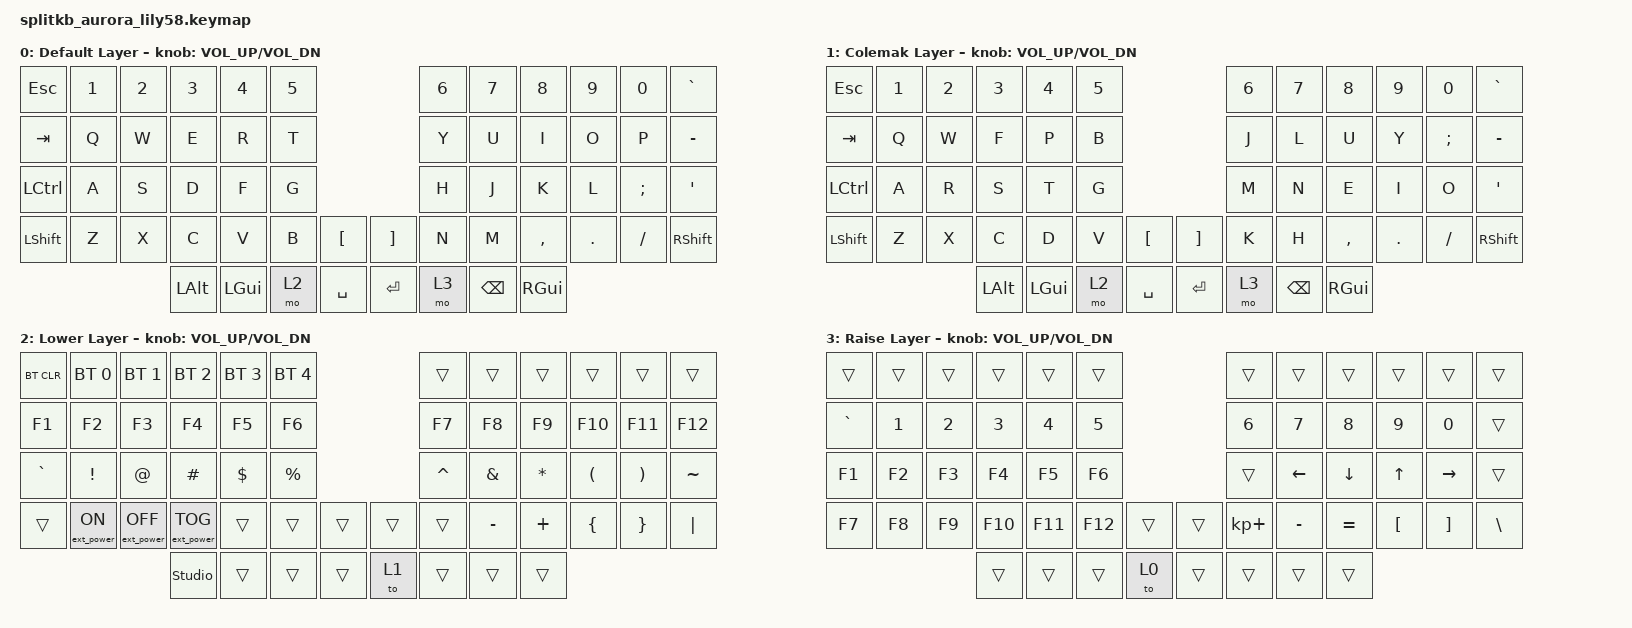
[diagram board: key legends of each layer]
/*
 * Copyright (c) 2022 The ZMK Contributors
 *
 * SPDX-License-Identifier: MIT
 */

#include <behaviors.dtsi>
#include <dt-bindings/zmk/keys.h>
#include <dt-bindings/zmk/bt.h>
#include <dt-bindings/zmk/ext_power.h>

/ {
    keymap {
        compatible = "zmk,keymap";

        default_layer {
            display-name = "Default Layer";
// ------------------------------------------------------------------------------------------------------------
// |  ESC  |  1  |  2  |  3   |  4   |  5   |                   |  6   |  7    |  8    |  9   |   0   |   `   |
// |  TAB  |  Q  |  W  |  E   |  R   |  T   |                   |  Y   |  U    |  I    |  O   |   P   |   -   |
// |  CTRL |  A  |  S  |  D   |  F   |  G   |                   |  H   |  J    |  K    |  L   |   ;   |   '   |
// | SHIFT |  Z  |  X  |  C   |  V   |  B   |   "["  |  |  "]"  |  N   |  M    |  ,    |  .   |   /   | SHIFT |
//                     | ALT  | GUI  | LOWER|  SPACE |  | ENTER | RAISE| BSPC  | GUI   |
            bindings = <
&kp ESC   &kp N1 &kp N2 &kp N3   &kp N4   &kp N5                     &kp N6 &kp N7   &kp N8    &kp N9  &kp N0   &kp GRAVE
&kp TAB   &kp Q  &kp W  &kp E    &kp R    &kp T                      &kp Y  &kp U    &kp I     &kp O   &kp P    &kp MINUS
&kp LCTRL &kp A  &kp S  &kp D    &kp F    &kp G                      &kp H  &kp J    &kp K     &kp L   &kp SEMI &kp SQT
&kp LSHFT &kp Z  &kp X  &kp C    &kp V    &kp B  &kp LBKT   &kp RBKT &kp N  &kp M    &kp COMMA &kp DOT &kp FSLH &kp RSHFT
                        &kp LALT &kp LGUI &mo 2  &kp SPACE  &kp RET  &mo 3  &kp BSPC &kp RGUI
            >;

            sensor-bindings = <&inc_dec_kp C_VOL_UP C_VOL_DN>;
        };
        colemak_layer {
            display-name = "Colemak Layer";
// ------------------------------------------------------------------------------------------------------------
// |  ESC  |  1  |  2  |  3   |  4   |  5   |                   |  6   |  7    |  8    |  9   |   0   |   `   |
// |  TAB  |  Q  |  W  |  E   |  R   |  T   |                   |  Y   |  U    |  I    |  O   |   P   |   -   |
// |  CTRL |  A  |  S  |  D   |  F   |  G   |                   |  H   |  J    |  K    |  L   |   ;   |   '   |
// | SHIFT |  Z  |  X  |  C   |  V   |  B   |   "["  |  |  "]"  |  N   |  M    |  ,    |  .   |   /   | SHIFT |
//                     | ALT  | GUI  | LOWER|  SPACE |  | ENTER | RAISE| BSPC  | GUI   |
            bindings = <
&kp ESC   &kp N1 &kp N2 &kp N3   &kp N4   &kp N5                     &kp N6 &kp N7   &kp N8    &kp N9  &kp N0   &kp GRAVE
&kp TAB   &kp Q  &kp W  &kp F    &kp P    &kp B                      &kp J  &kp L    &kp U     &kp Y   &kp SEMI &kp MINUS
&kp LCTRL &kp A  &kp R  &kp S    &kp T    &kp G                      &kp M  &kp N    &kp E     &kp I   &kp O    &kp SQT
&kp LSHFT &kp Z  &kp X  &kp C    &kp D    &kp V  &kp LBKT   &kp RBKT &kp K  &kp H    &kp COMMA &kp DOT &kp FSLH &kp RSHFT
                        &kp LALT &kp LGUI &mo 2  &kp SPACE  &kp RET  &mo 3  &kp BSPC &kp RGUI
            >;

            sensor-bindings = <&inc_dec_kp C_VOL_UP C_VOL_DN>;
        };

        lower_layer {
            display-name = "Lower Layer";
// ------------------------------------------------------------------------------------------------------------
// | BTCLR | BT1 | BT2 |  BT3 |  BT4 |  BT5 |                   |      |       |       |      |       |       |
// |  F1   |  F2 |  F3 |  F4  |  F5  |  F6  |                   |  F7  |  F8   |  F9   |  F10 |  F11  |  F12  |
// |   `   |  !  |  @  |  #   |  $   |  %   |                   |  ^   |  &    |  *    |  (   |   )   |   ~   |
// |       |     |     |      |      |      |        |  |       |      |  _    |  +    |  {   |   }   |  "|"  |
//                     |      |      |      |        |  |       |      |       |       |
            bindings = <
&bt BT_CLR &bt BT_SEL 0     &bt BT_SEL 1      &bt BT_SEL 2      &bt BT_SEL 3 &bt BT_SEL 4                 &trans    &trans    &trans          &trans    &trans    &trans
&kp F1     &kp F2           &kp F3            &kp F4            &kp F5       &kp F6                       &kp F7    &kp F8    &kp F9          &kp F10   &kp F11   &kp F12
&kp GRAVE  &kp EXCL         &kp AT            &kp HASH          &kp DOLLAR   &kp PRCNT                    &kp CARET &kp AMPS  &kp STAR         &kp LPAR  &kp RPAR  &kp TILDE
&trans     &ext_power EP_ON &ext_power EP_OFF &ext_power EP_TOG &trans       &trans    &trans   &trans    &trans    &kp MINUS &kp PLUS        &kp LBRC  &kp RBRC  &kp PIPE
                                              &studio_unlock    &trans       &trans    &trans   &to 1     &trans    &trans    &trans
            >;

            sensor-bindings = <&inc_dec_kp C_VOL_UP C_VOL_DN>;
        };

        raise_layer {
            display-name = "Raise Layer";
// ------------------------------------------------------------------------------------------------------------
// |       |     |     |      |      |      |                   |      |       |       |      |       |       |
// |   `   |  1  |  2  |  3   |  4   |  5   |                   |  6   |   7   |   8   |  9   |   0   |       |
// |   F1  |  F2 |  F3 |  F4  |  F5  |  F6  |                   |      |   <-  |   v   |  ^   |  ->   |       |
// |   F7  |  F8 |  F9 |  F10 |  F11 |  F12 |        |  |       |  +   |   -   |   =   |  [   |   ]   |   \   |
//                     |      |      |      |        |  |       |      |       |       |
            bindings = <
&trans    &trans &trans &trans  &trans  &trans                       &trans      &trans    &trans    &trans   &trans    &trans
&kp GRAVE &kp N1 &kp N2 &kp N3  &kp N4  &kp N5                       &kp N6      &kp N7    &kp N8    &kp N9   &kp N0    &trans
&kp F1    &kp F2 &kp F3 &kp F4  &kp F5  &kp F6                       &trans      &kp LEFT  &kp DOWN  &kp UP   &kp RIGHT &trans
&kp F7    &kp F8 &kp F9 &kp F10 &kp F11 &kp F12   &trans   &trans    &kp KP_PLUS &kp MINUS &kp EQUAL &kp LBKT &kp RBKT  &kp BSLH
                        &trans  &trans  &trans    &to 0    &trans    &trans      &trans    &trans
            >;

            sensor-bindings = <&inc_dec_kp C_VOL_UP C_VOL_DN>;
        };
        extra1 {
            status = "reserved";
        };

        extra2 {
            status = "reserved";
        };
    };
};
